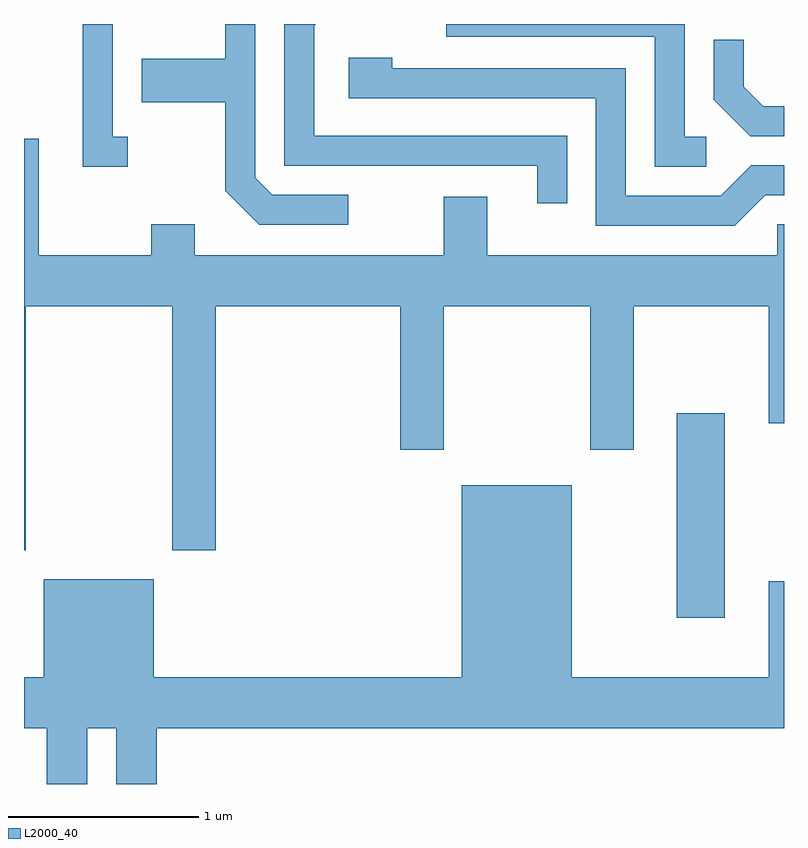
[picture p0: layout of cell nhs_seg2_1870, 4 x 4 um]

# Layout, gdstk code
import gdstk
lib = gdstk.Library(unit=1e-6, precision=1e-09)
def R(c, l, rs):  # rectangles x0, y0, x1, y1
    for r in rs: c.add(gdstk.rectangle(r[:2], r[2:], *l))
def P(c, l, *ps):  # polygons
    for p in ps: c.add(gdstk.Polygon(p, *l))
L2000_40 = (2000, 40)

nhs_seg2_1870 = lib.new_cell('nhs_seg2_1870')
R(nhs_seg2_1870, L2000_40, [(243.046,1046.676,243.299,1047.754)])
P(nhs_seg2_1870, L2000_40, [(243.203,1049.209),(243.089,1049.209),(243.089,1049.802),(241.833,1049.802),(241.833,1049.736),(242.931,1049.736),(242.931,1049.051),(243.203,1049.051)],
  [(242.469,1049.214),(241.139,1049.214),(241.139,1049.794),(241.147,1049.802),(240.981,1049.802),(240.981,1049.056),(242.311,1049.056),(242.311,1048.858),(242.469,1048.858)],
  [(240.158,1049.209),(240.079,1049.209),(240.079,1049.802),(239.921,1049.802),(239.921,1049.051),(240.158,1049.051)],
  [(241.318,1048.904),(240.917,1048.904),(240.829,1048.992),(240.829,1049.802),(240.671,1049.802),(240.671,1049.619),(240.231,1049.619),(240.231,1049.391),(240.671,1049.391),(240.671,1048.924),(240.849,1048.746),(241.318,1048.746)],
  [(243.611,1049.369),(243.502,1049.369),(243.399,1049.472),(243.399,1049.718),(243.241,1049.718),(243.241,1049.404),(243.434,1049.211),(243.611,1049.211)],
  [(243.512,1048.901),(243.611,1048.901),(243.611,1049.059),(243.439,1049.059),(243.279,1048.899),(242.779,1048.899),(242.779,1049.569),(241.549,1049.569),(241.549,1049.624),(241.321,1049.624),(241.321,1049.411),(242.621,1049.411),(242.621,1048.741),(243.352,1048.741)],
  [(242.049,1048.894),(241.821,1048.894),(241.821,1048.584),(240.509,1048.584),(240.509,1048.749),(240.281,1048.749),(240.281,1048.584),(239.689,1048.584),(239.689,1049.199),(239.611,1049.199),(239.611,1047.031),(239.619,1047.031),(239.619,1048.316),(240.391,1048.316),(240.391,1047.031),(240.619,1047.031),(240.619,1048.316),(241.591,1048.316),(241.591,1047.561),(241.819,1047.561),(241.819,1048.316),(242.591,1048.316),(242.591,1047.561),(242.819,1047.561),(242.819,1048.316),(243.531,1048.316),(243.531,1047.701),(243.611,1047.701),(243.611,1048.749),(243.576,1048.749),(243.576,1048.584),(242.049,1048.584)],
  [(239.944,1046.096),(240.096,1046.096),(240.096,1045.802),(240.309,1045.802),(240.309,1046.096),(243.611,1046.096),(243.611,1046.869),(243.531,1046.869),(243.531,1046.364),(242.494,1046.364),(242.494,1047.374),(241.916,1047.374),(241.916,1046.364),(240.294,1046.364),(240.294,1046.879),(239.716,1046.879),(239.716,1046.364),(239.611,1046.364),(239.611,1046.096),(239.731,1046.096),(239.731,1045.802),(239.944,1045.802)])

lib.write_gds('nhs_seg2_1870.gds')
